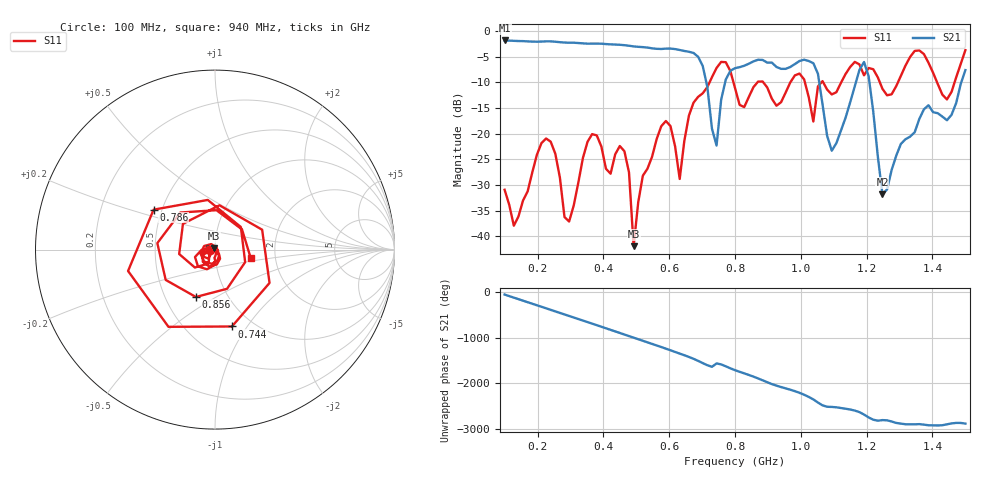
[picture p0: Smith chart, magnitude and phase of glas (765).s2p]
! NanoVNA-App
! Date: 2025-09-25 16:01:26
! Start: 100MHz Stop: 1,5GHz Points: 101
! S-Parameter data: F S11 S21 S12 S22
# Hz S RI R 50
!  Frequency  S11_Real  S11_Imag  S21_Real  S21_Imag  S12_Real  S12_Imag  S22_Real  S22_Imag
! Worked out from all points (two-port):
!   101 points, 100 MHz to 1.5 GHz, reference 50 ohm
!   highest |S21| = -1.80 dB at 100 MHz (marker M1); lowest = -31.8 dB at 1.248 GHz (marker M2)
!   |S21| within 3 dB of the highest: start of sweep to 684.4 MHz
!   lowest |S11| = -41.9 dB at 492 MHz (marker M3), VSWR 1.02, Z = 49.5 + j0.61 ohm
!   |S11| at or under -10 dB: start of sweep to 722.5 MHz; 795.4 MHz to 867.8 MHz (72.36 MHz wide, 8.7 % of centre); 886.3 MHz to 967.9 MHz (81.55 MHz wide, 8.8 % of centre) (the widest 3 of 7)
!   S12 and S22 are empty: the file has one direction only
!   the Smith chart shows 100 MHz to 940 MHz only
!   S11 on the Smith chart (normalised r, x): 100 MHz: 0.94, -0.01; 744 MHz: 0.80, -0.85; 786 MHz: 0.45, +0.24; 856 MHz: 0.71, -0.41; 940 MHz: 1.49, -0.14
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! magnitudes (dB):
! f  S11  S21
! 100 MHz  -30.9  -1.8
! 128 MHz  -37.9  -1.9
! 226 MHz  -20.9  -2.0
! 296 MHz  -37.1  -2.2
! 338 MHz  -24.7  -2.4
! 464 MHz  -23.4  -2.7
! 492 MHz  -41.9  -3.0
! 576 MHz  -18.5  -3.5
! 632 MHz  -28.8  -3.7
! 702 MHz  -12.1  -6.8
! 744 MHz  -7.2  -22.3
! 786 MHz  -7.8  -7.7
! 800 MHz  -11.1  -7.2
! 856 MHz  -10.9  -5.9
! 940 MHz  -13.8  -7.3
! 996 MHz  -8.3  -5.8
! 1.038 GHz  -17.6  -6.2
! 1.094 GHz  -12.3  -23.3
! 1.192 GHz  -8.6  -6.0
! 1.248 GHz  -11.2  -31.8
! 1.276 GHz  -12.3  -27.0
! 1.5 GHz  -3.7  -7.6
